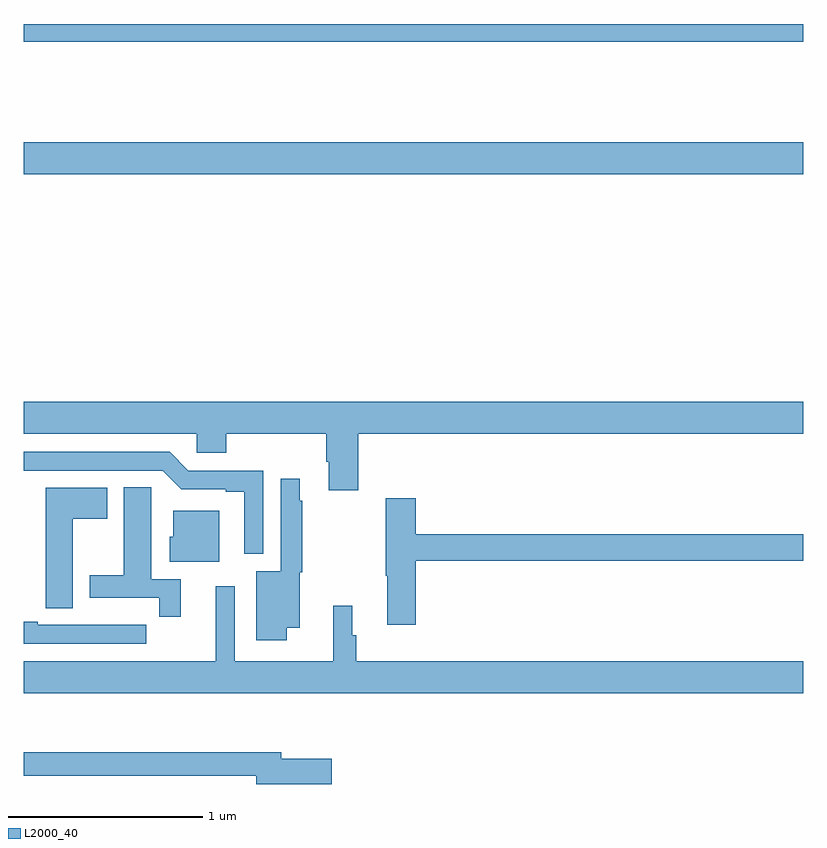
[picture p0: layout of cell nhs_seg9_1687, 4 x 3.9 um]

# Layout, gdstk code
import gdstk
lib = gdstk.Library(unit=1e-6, precision=1e-09)
def R(c, l, rs):  # rectangles x0, y0, x1, y1
    for r in rs: c.add(gdstk.rectangle(r[:2], r[2:], *l))
def P(c, l, *ps):  # polygons
    for p in ps: c.add(gdstk.Polygon(p, *l))
L2000_40 = (2000, 40)

nhs_seg9_1687 = lib.new_cell('nhs_seg9_1687')
R(nhs_seg9_1687, L2000_40, [(205,1221.728,209,1221.892), (205,1222.408,209,1222.5)])
P(nhs_seg9_1687, L2000_40, [(206.717,1220.396),(209,1220.396),(209,1220.56),(205,1220.56),(205,1220.396),(205.887,1220.396),(205.887,1220.298),(206.039,1220.298),(206.039,1220.396),(206.552,1220.396),(206.552,1220.254),(206.564,1220.254),(206.564,1220.106),(206.717,1220.106)],
  [(206.229,1220.208),(205.845,1220.208),(205.749,1220.304),(205,1220.304),(205,1220.208),(205.713,1220.208),(205.809,1220.112),(206.036,1220.112),(206.036,1220.1),(206.132,1220.1),(206.132,1219.782),(206.229,1219.782)],
  [(206.35,1219.4),(206.416,1219.4),(206.416,1219.686),(206.428,1219.686),(206.428,1220.054),(206.416,1220.054),(206.416,1220.167),(206.319,1220.167),(206.319,1219.69),(206.192,1219.69),(206.192,1219.338),(206.35,1219.338)],
  [(205.805,1219.65),(205.654,1219.65),(205.654,1220.012),(205.653,1220.012),(205.653,1220.123),(205.514,1220.123),(205.514,1219.671),(205.337,1219.671),(205.337,1219.554),(205.696,1219.554),(205.696,1219.458),(205.805,1219.458)],
  [(205.252,1219.96),(205.429,1219.96),(205.429,1220.119),(205.112,1220.119),(205.112,1219.609),(205.113,1219.609),(205.113,1219.501),(205.252,1219.501)],
  [(207.011,1219.744),(209,1219.744),(209,1219.88),(207.011,1219.88),(207.011,1220.065),(206.857,1220.065),(206.857,1219.667),(206.864,1219.667),(206.864,1219.416),(207.011,1219.416)],
  [(206.002,1220.002),(205.766,1220.002),(205.766,1219.869),(205.748,1219.869),(205.748,1219.739),(206.002,1219.739)],
  [(209,1219.228),(206.705,1219.228),(206.705,1219.362),(206.686,1219.362),(206.686,1219.513),(206.587,1219.513),(206.587,1219.228),(206.082,1219.228),(206.082,1219.615),(205.985,1219.615),(205.985,1219.228),(205,1219.228),(205,1219.064),(209,1219.064)],
  [(205.627,1219.416),(205.514,1219.416),(205.514,1219.417),(205.348,1219.417),(205.348,1219.416),(205.072,1219.416),(205.072,1219.431),(205,1219.431),(205,1219.32),(205.627,1219.32)],
  [(206.581,1218.729),(206.32,1218.729),(206.32,1218.763),(205,1218.763),(205,1218.642),(206.192,1218.642),(206.192,1218.599),(206.581,1218.599)])

lib.write_gds('nhs_seg9_1687.gds')
